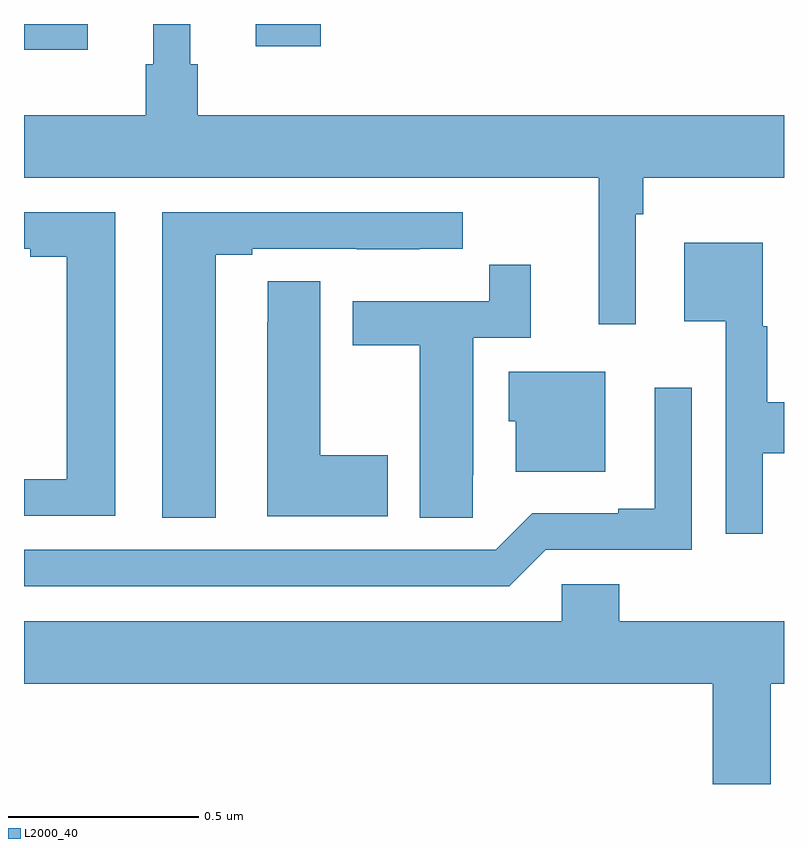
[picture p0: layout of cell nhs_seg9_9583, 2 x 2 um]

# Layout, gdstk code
import gdstk
lib = gdstk.Library(unit=1e-6, precision=1e-09)
def R(c, l, rs):  # rectangles x0, y0, x1, y1
    for r in rs: c.add(gdstk.rectangle(r[:2], r[2:], *l))
def P(c, l, *ps):  # polygons
    for p in ps: c.add(gdstk.Polygon(p, *l))
L2000_40 = (2000, 40)

nhs_seg9_9583 = lib.new_cell('nhs_seg9_9583')
R(nhs_seg9_9583, L2000_40, [(232,1187.432,232.168,1187.5), (232.61,1187.442,232.781,1187.5)])
P(nhs_seg9_9583, L2000_40, [(233.61,1187),(233.63,1187),(233.63,1187.096),(234,1187.096),(234,1187.26),(232.457,1187.26),(232.457,1187.394),(232.438,1187.394),(232.438,1187.5),(232.34,1187.5),(232.34,1187.394),(232.321,1187.394),(232.321,1187.26),(232,1187.26),(232,1187.096),(233.513,1187.096),(233.513,1186.71),(233.61,1186.71)],
  [(232.24,1187.004),(232,1187.004),(232,1186.908),(232.016,1186.908),(232.016,1186.888),(232.112,1186.888),(232.112,1186.302),(232,1186.302),(232,1186.206),(232.24,1186.206)],
  [(232.504,1186.893),(232.6,1186.893),(232.6,1186.908),(232.876,1186.908),(232.876,1186.907),(233.042,1186.907),(233.042,1186.908),(233.155,1186.908),(233.155,1187.004),(232.364,1187.004),(232.364,1186.201),(232.504,1186.201)],
  [(233.944,1186.37),(234,1186.37),(234,1186.505),(233.956,1186.505),(233.956,1186.704),(233.944,1186.704),(233.944,1186.924),(233.738,1186.924),(233.738,1186.718),(233.847,1186.718),(233.847,1186.158),(233.944,1186.158)],
  [(233.181,1186.312),(233.182,1186.312),(233.182,1186.674),(233.333,1186.674),(233.333,1186.867),(233.224,1186.867),(233.224,1186.77),(232.865,1186.77),(232.865,1186.654),(233.042,1186.654),(233.042,1186.201),(233.181,1186.201)],
  [(232.957,1186.365),(232.78,1186.365),(232.78,1186.823),(232.641,1186.823),(232.641,1186.715),(232.64,1186.715),(232.64,1186.205),(232.957,1186.205)],
  [(233.53,1186.585),(233.276,1186.585),(233.276,1186.455),(233.294,1186.455),(233.294,1186.322),(233.53,1186.322)],
  [(233.373,1186.116),(233.757,1186.116),(233.757,1186.543),(233.66,1186.543),(233.66,1186.225),(233.564,1186.225),(233.564,1186.212),(233.337,1186.212),(233.241,1186.116),(232,1186.116),(232,1186.02),(233.277,1186.02)],
  [(233.965,1185.764),(234,1185.764),(234,1185.928),(233.567,1185.928),(233.567,1186.026),(233.415,1186.026),(233.415,1185.928),(232,1185.928),(232,1185.764),(233.813,1185.764),(233.813,1185.5),(233.965,1185.5)])

lib.write_gds('nhs_seg9_9583.gds')
